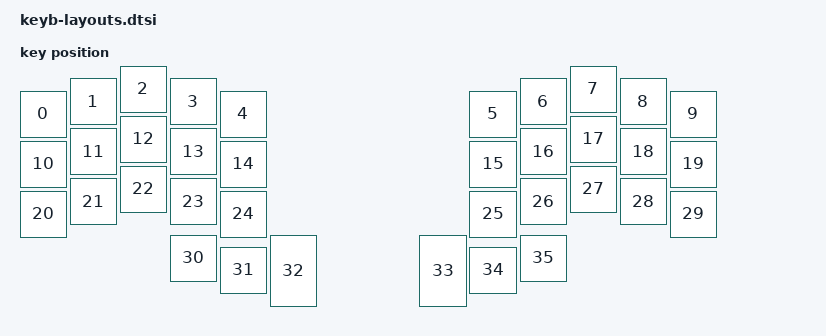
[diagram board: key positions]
//https://zmk-physical-layout-converter.streamlit.app/?layout=H4sIAAAAAAACA5VUsQrCQAzd-xWhczmSnJWem7vgooOIg5uD4KCCpfTfPbUcrVzvtVOTvJfcS3K9JiPKr-f69nzc8xU13vWBzfqw3e-CHyg-cuwiRA3lLx9QwwXl9c-itvjHFwG3ZqkRQtkj2MqbF2-KKZO1FODxfAb5NuBsNH0ARwtoTwAncY7idjCLJEHjChkoFNSi9FrQ9JAEVYAa42sSiwiKjhCGKnUGY2xWFk2bZwgdWbkIuDQi4Na56Spxo_E_x4GNOZBfTX8EHHpQRIZPUoefvt-P12btG17QnSn4BAAA

#include <physical_layouts.dtsi>

/ {
    keyb: keyb {
        compatible = "zmk,physical-layout";
        display-name = "Keyb";
        transform = <&default_transform>; // Label of the matrix transform for this layout

        keys  //                     w   h    x    y     rot    rx    ry
        = <&key_physical_attrs 100 100    0   50       0     0     0>
        , <&key_physical_attrs 100 100  100   25       0     0     0>
        , <&key_physical_attrs 100 100  200    0       0     0     0>
        , <&key_physical_attrs 100 100  300   25       0     0     0>
        , <&key_physical_attrs 100 100  400   50       0     0     0>
        , <&key_physical_attrs 100 100  900   50       0     0     0>
        , <&key_physical_attrs 100 100 1000   25       0     0     0>
        , <&key_physical_attrs 100 100 1100    0       0     0     0>
        , <&key_physical_attrs 100 100 1200   25       0     0     0>
        , <&key_physical_attrs 100 100 1300   50       0     0     0>
        , <&key_physical_attrs 100 100    0  150       0     0     0>
        , <&key_physical_attrs 100 100  100  125       0     0     0>
        , <&key_physical_attrs 100 100  200  100       0     0     0>
        , <&key_physical_attrs 100 100  300  125       0     0     0>
        , <&key_physical_attrs 100 100  400  150       0     0     0>
        , <&key_physical_attrs 100 100  900  150       0     0     0>
        , <&key_physical_attrs 100 100 1000  125       0     0     0>
        , <&key_physical_attrs 100 100 1100  100       0     0     0>
        , <&key_physical_attrs 100 100 1200  125       0     0     0>
        , <&key_physical_attrs 100 100 1300  150       0     0     0>
        , <&key_physical_attrs 100 100    0  250       0     0     0>
        , <&key_physical_attrs 100 100  100  225       0     0     0>
        , <&key_physical_attrs 100 100  200  200       0     0     0>
        , <&key_physical_attrs 100 100  300  225       0     0     0>
        , <&key_physical_attrs 100 100  400  250       0     0     0>
        , <&key_physical_attrs 100 100  900  250       0     0     0>
        , <&key_physical_attrs 100 100 1000  225       0     0     0>
        , <&key_physical_attrs 100 100 1100  200       0     0     0>
        , <&key_physical_attrs 100 100 1200  225       0     0     0>
        , <&key_physical_attrs 100 100 1300  250       0     0     0>
        , <&key_physical_attrs 100 100  300  338       0     0     0>
        , <&key_physical_attrs 100 100  400  362       0     0     0>
        , <&key_physical_attrs 100 150  500  338       0     0     0>
        , <&key_physical_attrs 100 150  800  338       0     0     0>
        , <&key_physical_attrs 100 100  900  362       0     0     0>
        , <&key_physical_attrs 100 100 1000  338       0     0     0>
        ;
    };

    position_map {
        compatible = "zmk,physical-layout-position-map";
        complete;

        layout1: layout1 {
            physical-layout = <&keyb>;
            positions = <>;
        };
    };
};
